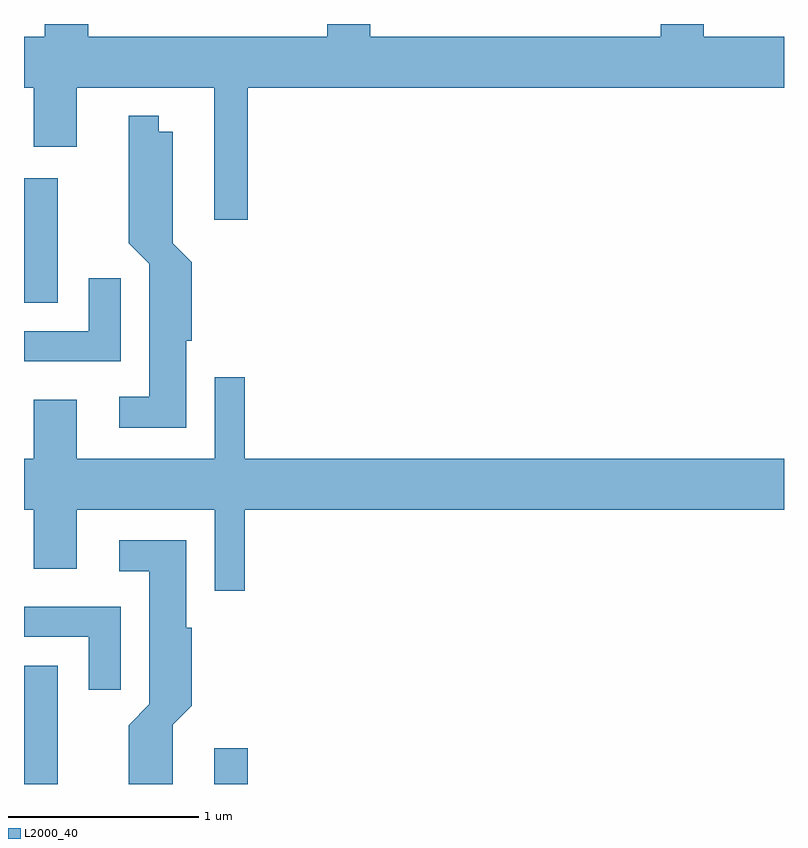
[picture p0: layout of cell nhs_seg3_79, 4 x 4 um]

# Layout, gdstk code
import gdstk
lib = gdstk.Library(unit=1e-6, precision=1e-09)
def R(c, l, rs):  # rectangles x0, y0, x1, y1
    for r in rs: c.add(gdstk.rectangle(r[:2], r[2:], *l))
def P(c, l, *ps):  # polygons
    for p in ps: c.add(gdstk.Polygon(p, *l))
L2000_40 = (2000, 40)

nhs_seg3_79 = lib.new_cell('nhs_seg3_79')
R(nhs_seg3_79, L2000_40, [(187.611,1137.892,187.789,1138.514), (188.611,1137.892,188.789,1138.079), (187.611,1140.426,187.789,1141.079)])
P(nhs_seg3_79, L2000_40, [(188.789,1141.556),(191.611,1141.556),(191.611,1141.824),(191.189,1141.824),(191.189,1141.892),(190.961,1141.892),(190.961,1141.824),(189.434,1141.824),(189.434,1141.892),(189.206,1141.892),(189.206,1141.824),(187.949,1141.824),(187.949,1141.892),(187.721,1141.892),(187.721,1141.824),(187.611,1141.824),(187.611,1141.556),(187.661,1141.556),(187.661,1141.246),(187.889,1141.246),(187.889,1141.556),(188.611,1141.556),(188.611,1140.861),(188.789,1140.861)],
  [(188.464,1140.226),(188.494,1140.226),(188.494,1140.637),(188.394,1140.737),(188.394,1141.324),(188.319,1141.324),(188.319,1141.408),(188.161,1141.408),(188.161,1140.739),(188.271,1140.629),(188.271,1139.929),(188.113,1139.929),(188.113,1139.766),(188.464,1139.766)],
  [(188.119,1140.553),(187.951,1140.553),(187.951,1140.274),(187.611,1140.274),(187.611,1140.116),(188.119,1140.116)],
  [(188.774,1139.336),(191.611,1139.336),(191.611,1139.604),(188.774,1139.604),(188.774,1140.033),(188.616,1140.033),(188.616,1139.604),(187.889,1139.604),(187.889,1139.914),(187.661,1139.914),(187.661,1139.604),(187.611,1139.604),(187.611,1139.336),(187.661,1139.336),(187.661,1139.026),(187.889,1139.026),(187.889,1139.336),(188.616,1139.336),(188.616,1138.908),(188.774,1138.908)],
  [(188.394,1138.204),(188.494,1138.304),(188.494,1138.714),(188.464,1138.714),(188.464,1139.174),(188.113,1139.174),(188.113,1139.011),(188.271,1139.011),(188.271,1138.312),(188.161,1138.202),(188.161,1137.892),(188.394,1137.892)],
  [(188.119,1138.824),(187.611,1138.824),(187.611,1138.666),(187.951,1138.666),(187.951,1138.388),(188.119,1138.388)])

lib.write_gds('nhs_seg3_79.gds')
